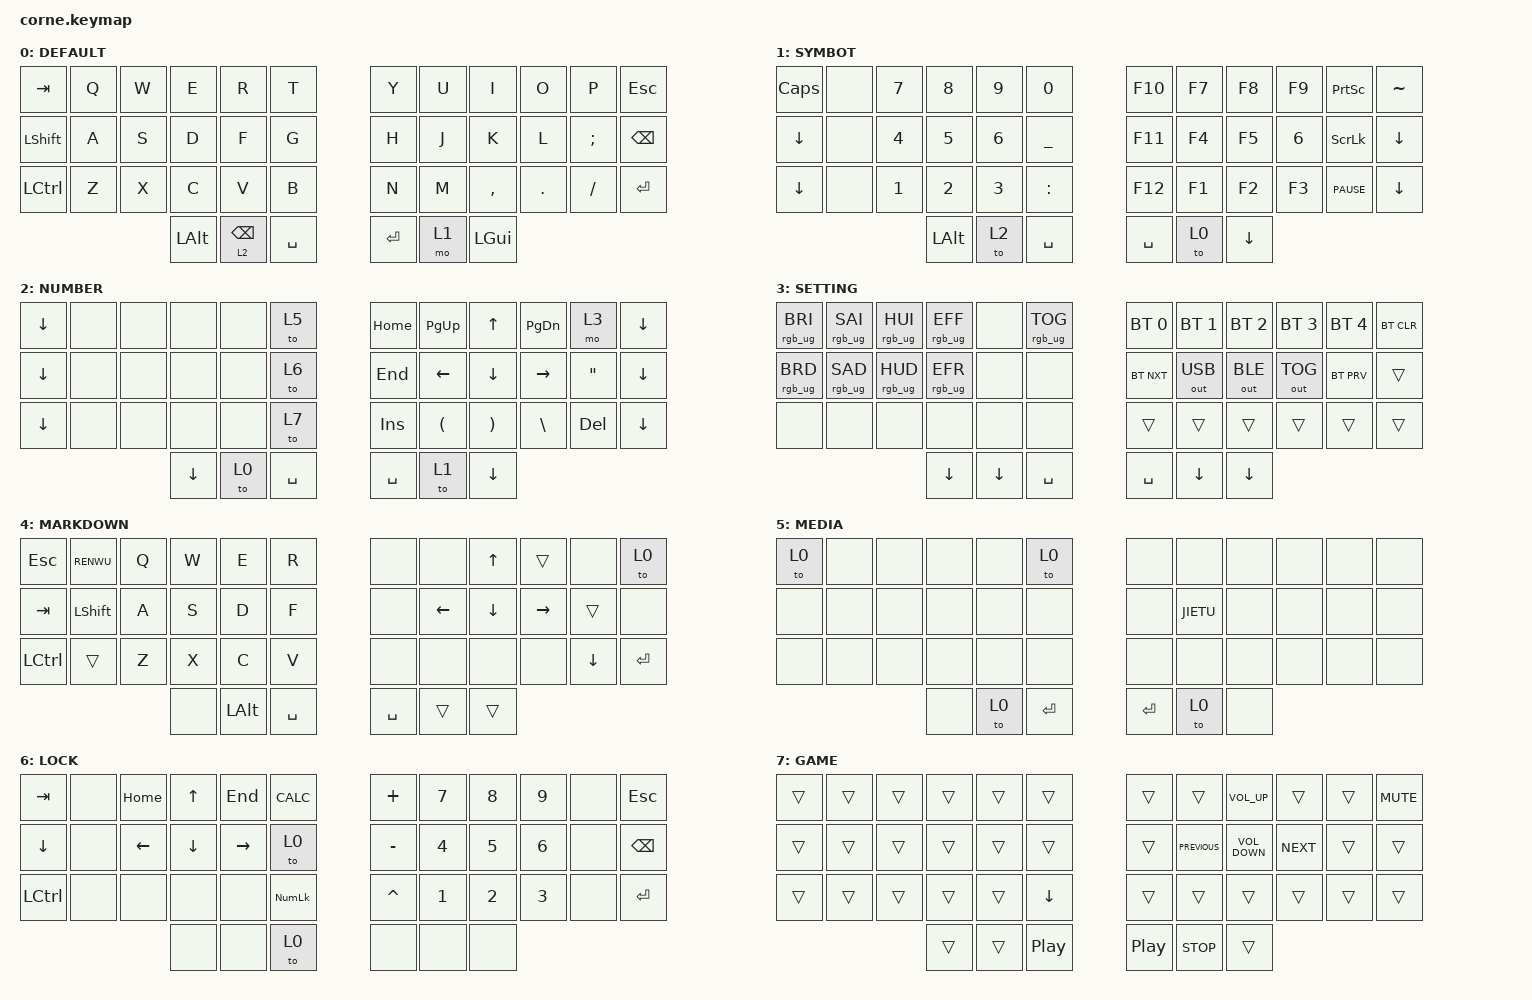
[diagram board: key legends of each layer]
/*
 * Copyright (c) 2020 The ZMK Contributors
 *
 * SPDX-License-Identifier: MIT
 */

#define DEFAULT  0
#define SYMBOT   1
#define NUMBER   2
#define SETTING  3
#define MARKDOWN 4
#define MEDIA    5
#define LOCK     6
#define GAME     7

#include <behaviors.dtsi>
#include <dt-bindings/zmk/keys.h>
#include <dt-bindings/zmk/rgb.h>
#include <dt-bindings/zmk/bt.h>
#include <dt-bindings/zmk/outputs.h>

/ {
    behaviors {
        hm: homerow_mods {
            compatible = "zmk,behavior-hold-tap";
            label = "HOMEROW_MODS";
            #binding-cells = <2>;
            tapping-term-ms = <150>;
            quick-tap-ms = <0>;
            flavor = "tap-preferred";
            bindings =
                <&kp>,
                <&kp>;
        };
    };

    combos {
        compatible = "zmk,combos";

        tab {
            bindings = <&kp TAB>;
            key-positions = <0 1>;
            timeout-ms = <50>;
        };

        esc {
            bindings = <&kp ESC>;
            key-positions = <12 13>;
            timeout-ms = <50>;
        };

        up {
            bindings = <&kp UP>;
            key-positions = <7 8>;
            layers = <0 2>;
            timeout-ms = <50>;
        };

        down {
            bindings = <&kp DOWN>;
            key-positions = <31 32>;
            timeout-ms = <50>;
        };

        left {
            bindings = <&kp LEFT>;
            key-positions = <18 19>;
            layers = <0 2>;
            timeout-ms = <50>;
        };

        right {
            bindings = <&kp RIGHT>;
            key-positions = <20 21>;
            layers = <0 2>;
            timeout-ms = <50>;
        };
    };

    macros {
        JIETU: JIETU {
            compatible = "zmk,behavior-macro";
            label = "new_macro";
            #binding-cells = <0>;
            bindings =
                <&macro_press>,
                <&kp RCTRL &kp LEFT_ALT &kp A>;
        };
        RENWU: RENWU {
            compatible = "zmk,behavior-macro";
            label = "new_macro";
            #binding-cells = <0>;
            bindings = <&kp PLUS &kp SPACE &kp LEFT_BRACKET &kp RIGHT_BRACKET &kp SPACE>;
        };
        GUANJIANCI: GUANJIANCI {
            compatible = "zmk,behavior-macro";
            label = "new_macro";
            #binding-cells = <0>;
            bindings = <&kp LSHIFT &kp LBKT &kp RBKT &kp LEFT &kp LSHIFT>;
        };
    };

    keymap {
        compatible = "zmk,keymap";

        DEFAULT {
            label = "DEFAULT";
            bindings = <
    &kp TAB   &kp Q   &kp W         &kp E       &kp R      &kp T            &kp Y   &kp U      &kp I    &kp O     &kp P        &kp ESC
 &kp LSHIFT   &kp A   &kp S         &kp D       &kp F      &kp G            &kp H   &kp J      &kp K    &kp L  &kp SEMI  &kp BACKSPACE
  &kp LCTRL   &kp Z   &kp X         &kp C       &kp V      &kp B            &kp N   &kp M  &kp COMMA  &kp DOT  &kp FSLH      &kp ENTER
                             &kp LEFT_ALT  &lt 2 BSPC  &kp SPACE          &kp RET   &mo 1   &kp LGUI
            >;
        };

        SYMBOT {
            label = "SYMBOT";
            bindings = <
 &kp CAPS   &none  &kp N7        &kp N8  &kp N9     &kp N0            &kp F10  &kp F7    &kp F8  &kp F9  &kp PRINTSCREEN  &kp TILDE
 &kp DOWN   &none  &kp N4        &kp N5  &kp N6  &kp UNDER            &kp F11  &kp F4    &kp F5  &kp N6   &kp SCROLLLOCK   &kp DOWN
 &kp DOWN   &none  &kp N1        &kp N2  &kp N3  &kp COLON            &kp F12  &kp F1    &kp F2  &kp F3      &kp C_PAUSE   &kp DOWN
                           &kp LEFT_ALT   &to 2  &kp SPACE          &kp SPACE   &to 0  &kp DOWN
            >;
        };

        NUMBER {
            label = "NUMBER";
            bindings = <
 &kp DOWN   &none   &none     &none   &none      &to 5            &kp HOME           &kp PAGE_UP                 &kp UP  &kp PAGE_DOWN       &mo 3  &kp DOWN
 &kp DOWN   &none   &none     &none   &none      &to 6             &kp END              &kp LEFT               &kp DOWN      &kp RIGHT     &kp DQT  &kp DOWN
 &kp DOWN   &none   &none     &none   &none      &to 7          &kp INSERT  &kp LEFT_PARENTHESIS  &kp RIGHT_PARENTHESIS  &kp BACKSLASH  &kp DELETE  &kp DOWN
                           &kp DOWN   &to 0  &kp SPACE           &kp SPACE                 &to 1               &kp DOWN
            >;
        };

        SETTING {
            label = "SETTING";
            bindings = <
 &rgb_ug RGB_BRI  &rgb_ug RGB_SAI  &rgb_ug RGB_HUI  &rgb_ug RGB_EFF     &none  &rgb_ug RGB_TOG          &bt BT_SEL 0  &bt BT_SEL 1  &bt BT_SEL 2  &bt BT_SEL 3  &bt BT_SEL 4  &bt BT_CLR
 &rgb_ug RGB_BRD  &rgb_ug RGB_SAD  &rgb_ug RGB_HUD  &rgb_ug RGB_EFR     &none            &none            &bt BT_NXT  &out OUT_USB  &out OUT_BLE  &out OUT_TOG    &bt BT_PRV      &trans
           &none            &none            &none            &none     &none            &none                &trans        &trans        &trans        &trans        &trans      &trans
                                                           &kp DOWN  &kp DOWN        &kp SPACE             &kp SPACE      &kp DOWN      &kp DOWN
            >;
        };

        MARKDOWN {
            label = "MARKDOWN";
            bindings = <
   &kp ESC          &RENWU   &kp Q   &kp W         &kp E      &kp R              &none     &none    &kp UP     &trans     &none      &to 0
   &kp TAB  &kp LEFT_SHIFT   &kp A   &kp S         &kp D      &kp F              &none  &kp LEFT  &kp DOWN  &kp RIGHT    &trans      &none
 &kp LCTRL          &trans   &kp Z   &kp X         &kp C      &kp V              &none     &none     &none      &none  &kp DOWN  &kp ENTER
                                     &none  &kp LEFT_ALT  &kp SPACE          &kp SPACE    &trans    &trans
            >;
        };

        MEDIA {
            label = "MEDIA";
            bindings = <
  &to 0   &none   &none   &none   &none      &to 0              &none   &none   &none   &none   &none   &none
  &none   &none   &none   &none   &none      &none              &none  &JIETU   &none   &none   &none   &none
  &none   &none   &none   &none   &none      &none              &none   &none   &none   &none   &none   &none
                          &none   &to 0  &kp ENTER          &kp ENTER   &to 0   &none
            >;
        };

        LOCK {
            label = "LOCK";
            bindings = <
   &kp TAB   &none  &kp HOME    &kp UP    &kp END      &kp K_CALC           &kp PLUS  &kp N7  &kp N8  &kp N9   &none        &kp ESC
  &kp DOWN   &none  &kp LEFT  &kp DOWN  &kp RIGHT           &to 0          &kp MINUS  &kp N4  &kp N5  &kp N6   &none  &kp BACKSPACE
 &kp LCTRL   &none     &none     &none      &none  &kp KP_NUMLOCK          &kp CARET  &kp N1  &kp N2  &kp N3   &none      &kp ENTER
                                 &none      &none           &to 0              &none   &none   &none
            >;
        };

        GAME {
            label = "GAME";
            bindings = <
 &trans  &trans  &trans  &trans  &trans            &trans                    &trans          &trans    &kp C_VOLUME_UP      &trans  &trans  &kp C_MUTE
 &trans  &trans  &trans  &trans  &trans            &trans                    &trans  &kp C_PREVIOUS  &kp C_VOLUME_DOWN  &kp C_NEXT  &trans      &trans
 &trans  &trans  &trans  &trans  &trans          &kp DOWN                    &trans          &trans             &trans      &trans  &trans      &trans
                         &trans  &trans  &kp C_PLAY_PAUSE          &kp C_PLAY_PAUSE      &kp C_STOP             &trans
            >;
        };
    };
};
